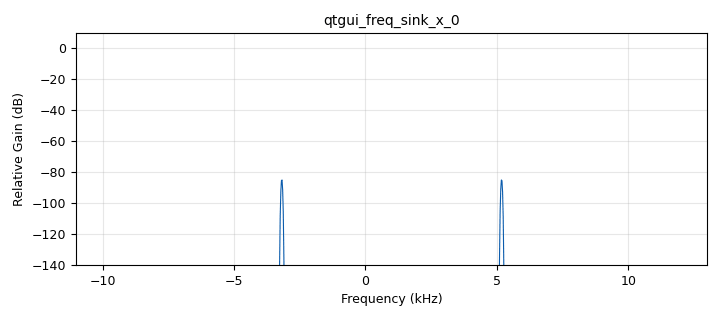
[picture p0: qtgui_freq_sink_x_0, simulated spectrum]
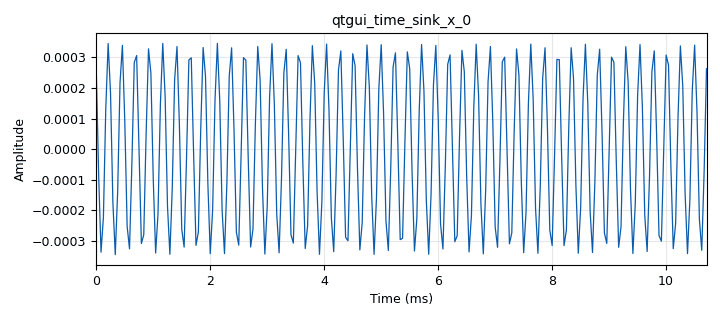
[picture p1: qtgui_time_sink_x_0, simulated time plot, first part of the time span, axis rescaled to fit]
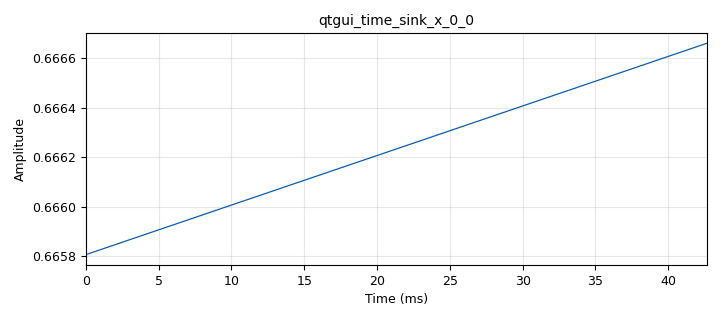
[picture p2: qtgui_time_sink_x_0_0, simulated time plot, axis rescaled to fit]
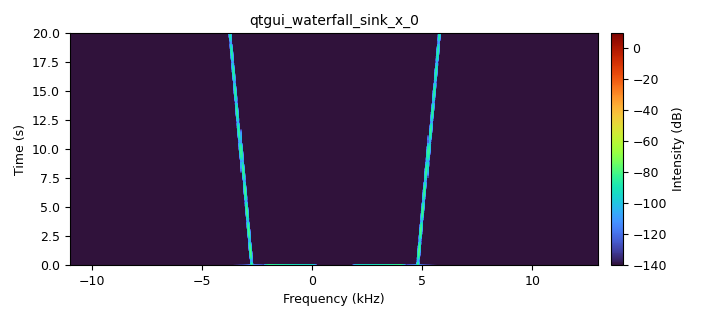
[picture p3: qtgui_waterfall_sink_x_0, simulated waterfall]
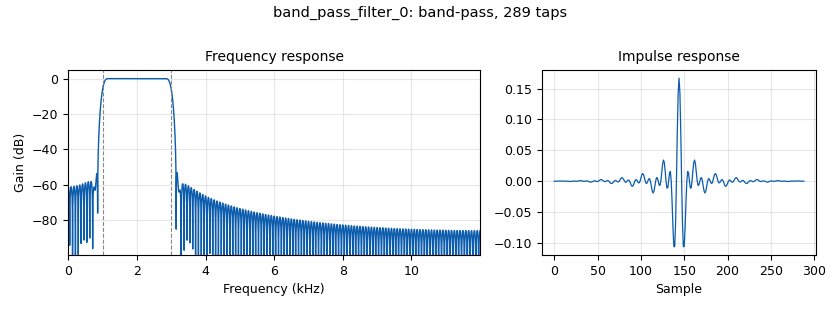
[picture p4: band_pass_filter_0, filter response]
options:
  parameters:
    generate_options: qt_gui
    id: genosc
    output_language: python
    title: Not titled yet
  states: {}

blocks:
- name: Fmax
  id: variable
  parameters:
    value: '5000'
  states: {}
- name: Fmin
  id: variable
  parameters:
    value: '100'
  states: {}
- name: samp_rate
  id: variable
  parameters:
    value: '24000'
  states: {}
- name: sweep_time
  id: variable
  parameters:
    value: '50.0'
  states: {}
- name: analog_sig_source_x_0
  id: analog_sig_source_x
  parameters:
    amp: '1'
    freq: (1.0/sweep_time)
    offset: '0'
    phase: '0'
    samp_rate: samp_rate
    type: float
    waveform: analog.GR_SAW_WAVE
  states: {}
- name: band_pass_filter_0
  id: band_pass_filter
  parameters:
    decim: '1'
    gain: '1'
    high_cutoff_freq: '3000'
    low_cutoff_freq: '1000'
    samp_rate: samp_rate
    type: fir_filter_fff
    width: '200'
    win: window.WIN_HAMMING
  states: {}
- name: blocks_add_const_vxx_0_0
  id: blocks_add_const_vxx
  parameters:
    const: (Fmax + Fmin) / 2
    type: float
  states: {}
- name: blocks_multiply_const_vxx_0
  id: blocks_multiply_const_vxx
  parameters:
    const: (Fmax - Fmin) / 2
    type: float
  states: {}
- name: blocks_vco_f_0
  id: blocks_vco_f
  parameters:
    amplitude: '1'
    samp_rate: samp_rate
    sensitivity: '6.283185'
  states: {}
- name: qtgui_freq_sink_x_0
  id: qtgui_freq_sink_x
  parameters:
    bw: samp_rate
    fc: '1000'
    fftsize: '1024'
    type: float
  states: {}
- name: qtgui_time_sink_x_0
  id: qtgui_time_sink_x
  parameters:
    grid: 'True'
    size: '1024'
    srate: samp_rate
    type: float
  states: {}
- name: qtgui_time_sink_x_0_0
  id: qtgui_time_sink_x
  parameters:
    grid: 'True'
    size: '1024'
    srate: samp_rate
    type: float
  states: {}
- name: qtgui_waterfall_sink_x_0
  id: qtgui_waterfall_sink_x
  parameters:
    bw: samp_rate
    fc: '1000'
    fftsize: '1024'
    type: float
  states: {}

connections:
- [analog_sig_source_x_0, '0', blocks_multiply_const_vxx_0, '0']
- [analog_sig_source_x_0, '0', qtgui_time_sink_x_0_0, '0']
- [band_pass_filter_0, '0', qtgui_freq_sink_x_0, '0']
- [band_pass_filter_0, '0', qtgui_time_sink_x_0, '0']
- [band_pass_filter_0, '0', qtgui_waterfall_sink_x_0, '0']
- [blocks_add_const_vxx_0_0, '0', blocks_vco_f_0, '0']
- [blocks_multiply_const_vxx_0, '0', blocks_add_const_vxx_0_0, '0']
- [blocks_vco_f_0, '0', band_pass_filter_0, '0']

metadata:
  file_format: 1
  grc_version: 3.10.12.0
